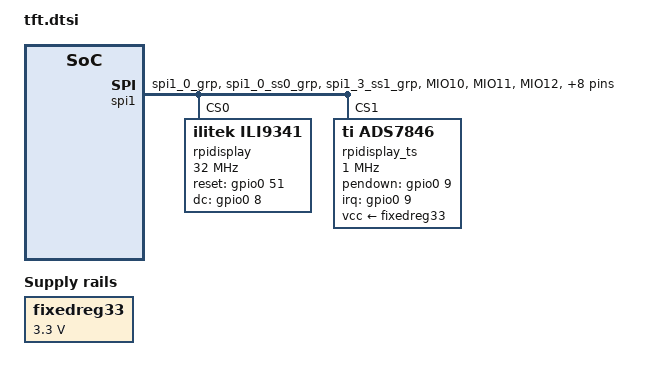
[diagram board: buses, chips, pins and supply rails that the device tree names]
/*
 * TFT controller specific code
 */

&pinctrl0 {
	pinctrl_spi1_tft: spi1_tft {
                // SPI1 for TFT and touch
                // SPI1_MOSI - MIO[10]
                // SPI1_MISO - MIO[11]
                // SPI1_SCLK - MIO[12]
                // SPI1_SSn0 - MIO[13]
                // SPI1_SSN1 - MIO[50]
		mux_spi {
			function = "spi1";
			groups = "spi1_0_grp";
		};
                mux_ss {
			function = "spi1_ss";
			groups   = "spi1_0_ss0_grp", "spi1_3_ss1_grp";
                };
		conf_spi {
			pins = "MIO10", "MIO11", "MIO12";
			slew-rate = <1>;
			bias-disable;
			io-standard = <3>;  // LVCMOS33
		};
		conf_ss0 {
			pins = "MIO13";
			slew-rate = <0>;
			bias-pull-up;
			io-standard = <3>;  // LVCMOS33
		};
		conf_ss {
			pins = "MIO50";
			slew-rate = <0>;
			bias-pull-up;
			io-standard = <2>;  // LVCMOS25
		};
                // TFT D/C (data/control)
		mux_tft_dc {
			function = "gpio0";
			groups = "gpio0_8_grp";
		};
		conf_tft_dc {
			pins = "MIO8";
			bias-disable;
			slew-rate = <0>;
			io-standard = <3>;  // LVCMOS33
		};
		// TFT reset
		mux_tft_reset {
			function = "gpio0";
			groups = "gpio0_51_grp";
		};
		conf_tft_reset {
			pins = "MIO51";
			bias-pull-up;
			slew-rate = <0>;
			io-standard = <3>;  // LVCMOS33
		};
		// touch pendown
		mux_touch_pendow {
			function = "gpio0";
			groups = "gpio0_9_grp";
		};
		conf_touch_pendow {
			pins = "MIO9";
			bias-disable;
			slew-rate = <0>;
			io-standard = <3>;  // LVCMOS33
		};
	};
};

&spi1 {
	num-cs = <2>;
	pinctrl-names = "default";
	pinctrl-0 = <&pinctrl_spi1_tft>;

	rpidisplay: rpi-display@0 {
		compatible = "ilitek,ili9341";
		reg = <0>;
		spi-max-frequency = <32000000>;

		rotate = <90>;
		bgr;
		fps = <10>;
		buswidth = <8>;

		reset-gpios = <&gpio0 51 0>;
		dc-gpios = <&gpio0 8 0>;

		debug = <0>;
	};

	rpidisplay_ts: rpi-display-ts@1 {
		compatible = "ti,ads7846";
		reg = <1>;
		spi-max-frequency = <1000000>;

		ti,swap-xy;
		interrupts = <9 0>;
		interrupt-parent = <&gpio0>;
		pendown-gpio = <&gpio0 9 0>;
		vcc-supply = <&fixedreg33>;
	};
};
/{
	// Backlight should be uncommented if there is a GPIO available
//	backlight {
//		compatible = "gpio-backlight";
//		gpios = <&gpio0 63 0>;
//		default-on;
//	};

	fixedreg33: fixed33@0 {
		compatible = "regulator-fixed";
		regulator-name = "fixed-supply";
		regulator-min-microvolt = <3300000>;
		regulator-max-microvolt = <3300000>;
	};
};
